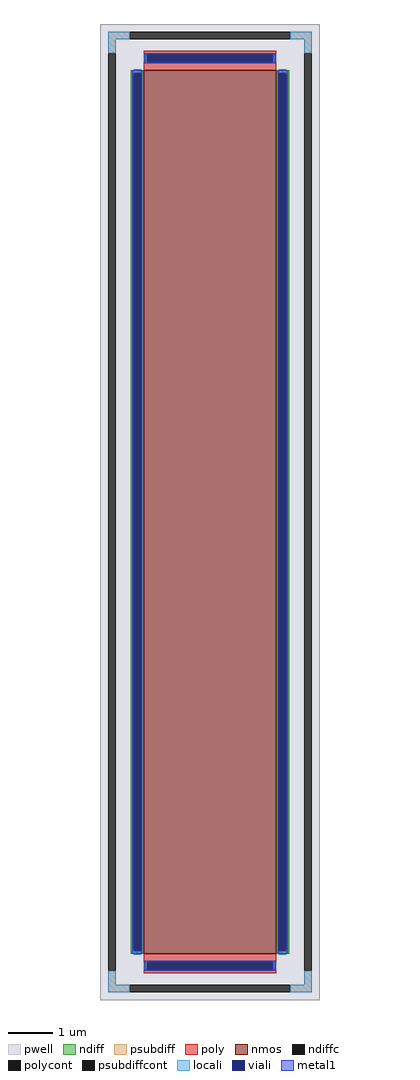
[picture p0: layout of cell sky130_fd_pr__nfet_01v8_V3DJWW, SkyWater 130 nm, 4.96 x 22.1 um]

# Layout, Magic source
magic
tech sky130A
<< pwell >>
rect -248 -1105 248 1105
<< nmos >>
rect -150 -1000 150 1000
<< ndiff >>
rect -179 994 -150 1000
rect -179 -994 -173 994
rect -156 -994 -150 994
rect -179 -1000 -150 -994
rect 150 994 179 1000
rect 150 -994 156 994
rect 173 -994 179 994
rect 150 -1000 179 -994
<< ndiffc >>
rect -173 -994 -156 994
rect 156 -994 173 994
<< psubdiff >>
rect -230 1070 -182 1087
rect 182 1070 230 1087
rect -230 1039 -213 1070
rect 213 1039 230 1070
rect -230 -1070 -213 -1039
rect 213 -1070 230 -1039
rect -230 -1087 -182 -1070
rect 182 -1087 230 -1070
<< psubdiffcont >>
rect -182 1070 182 1087
rect -230 -1039 -213 1039
rect 213 -1039 230 1039
rect -182 -1087 182 -1070
<< poly >>
rect -150 1036 150 1044
rect -150 1019 -142 1036
rect 142 1019 150 1036
rect -150 1000 150 1019
rect -150 -1019 150 -1000
rect -150 -1036 -142 -1019
rect 142 -1036 150 -1019
rect -150 -1044 150 -1036
<< polycont >>
rect -142 1019 142 1036
rect -142 -1036 142 -1019
<< locali >>
rect -230 1070 -182 1087
rect 182 1070 230 1087
rect -230 1039 -213 1070
rect 213 1039 230 1070
rect -150 1019 -142 1036
rect 142 1019 150 1036
rect -173 994 -156 1002
rect -173 -1002 -156 -994
rect 156 994 173 1002
rect 156 -1002 173 -994
rect -150 -1036 -142 -1019
rect 142 -1036 150 -1019
rect -230 -1070 -213 -1039
rect 213 -1070 230 -1039
rect -230 -1087 -182 -1070
rect 182 -1087 230 -1070
<< viali >>
rect -142 1019 142 1036
rect -173 -994 -156 994
rect 156 -994 173 994
rect -142 -1036 142 -1019
<< metal1 >>
rect -148 1036 148 1039
rect -148 1019 -142 1036
rect 142 1019 148 1036
rect -148 1016 148 1019
rect -176 994 -153 1000
rect -176 -994 -173 994
rect -156 -994 -153 994
rect -176 -1000 -153 -994
rect 153 994 176 1000
rect 153 -994 156 994
rect 173 -994 176 994
rect 153 -1000 176 -994
rect -148 -1019 148 -1016
rect -148 -1036 -142 -1019
rect 142 -1036 148 -1019
rect -148 -1039 148 -1036
<< properties >>
string FIXED_BBOX -221 -1078 221 1078
string gencell sky130_fd_pr__nfet_01v8
string library sky130
string parameters w 20 l 3 m 1 nf 1 diffcov 100 polycov 100 guard 1 glc 1 grc 1 gtc 1 gbc 1 tbcov 100 rlcov 100 topc 1 botc 1 poverlap 0 doverlap 1 lmin 0.15 wmin 0.42 compatible {sky130_fd_pr__nfet_01v8 sky130_fd_pr__nfet_01v8_lvt  sky130_fd_bs_flash__special_sonosfet_star  sky130_fd_pr__nfet_g5v0d10v5 sky130_fd_pr__nfet_05v0_nvt  sky130_fd_pr__nfet_03v3_nvt} full_metal 1 viasrc 100 viadrn 100 viagate 100 viagb 0 viagr 0 viagl 0 viagt 0
<< end >>
